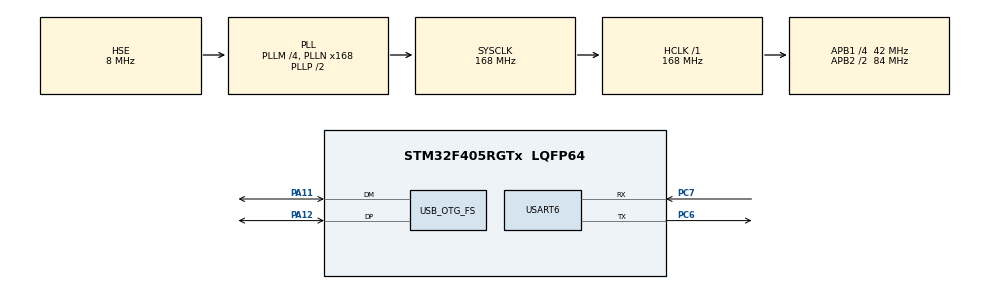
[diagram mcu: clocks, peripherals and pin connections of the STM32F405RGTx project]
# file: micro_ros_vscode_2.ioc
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Dma.Request0=USART6_RX
Dma.Request1=USART6_TX
Dma.USART6_RX.0.Direction=DMA_PERIPH_TO_MEMORY
Dma.USART6_RX.0.FIFOMode=DMA_FIFOMODE_DISABLE
Dma.USART6_RX.0.Instance=DMA2_Stream1
Dma.USART6_RX.0.MemDataAlignment=DMA_MDATAALIGN_BYTE
Dma.USART6_RX.0.MemInc=DMA_MINC_ENABLE
Dma.USART6_RX.0.Mode=DMA_NORMAL
Dma.USART6_RX.0.PeriphDataAlignment=DMA_PDATAALIGN_BYTE
Dma.USART6_RX.0.PeriphInc=DMA_PINC_DISABLE
Dma.USART6_RX.0.Priority=DMA_PRIORITY_LOW
Dma.USART6_TX.1.Direction=DMA_MEMORY_TO_PERIPH
Dma.USART6_TX.1.FIFOMode=DMA_FIFOMODE_DISABLE
Dma.USART6_TX.1.Instance=DMA2_Stream6
Dma.USART6_TX.1.MemDataAlignment=DMA_MDATAALIGN_BYTE
Dma.USART6_TX.1.MemInc=DMA_MINC_ENABLE
Dma.USART6_TX.1.Mode=DMA_NORMAL
Dma.USART6_TX.1.PeriphDataAlignment=DMA_PDATAALIGN_BYTE
Dma.USART6_TX.1.PeriphInc=DMA_PINC_DISABLE
Dma.USART6_TX.1.Priority=DMA_PRIORITY_LOW
FREERTOS.Tasks01=defaultTask,24,3000,StartDefaultTask,Default,NULL,Dynamic,NULL,NULL
Mcu.Family=STM32F4
Mcu.Name=STM32F405RGTx
Mcu.Package=LQFP64
NVIC.DMA2_Stream1_IRQn=true\:5\:0\:false\:false\:true\:true\:false\:true\:true
NVIC.DMA2_Stream6_IRQn=true\:5\:0\:false\:false\:true\:true\:false\:true\:true
NVIC.PriorityGroup=NVIC_PRIORITYGROUP_4
NVIC.USART6_IRQn=true\:5\:0\:false\:false\:true\:true\:false\:true\:true
PA11.Mode=Device_Only
PA11.Signal=USB_OTG_FS_DM
PA12.Mode=Device_Only
PA12.Signal=USB_OTG_FS_DP
PA13.Mode=Serial_Wire
PA13.Signal=SYS_JTMS-SWDIO
PA14.Mode=Serial_Wire
PA14.Signal=SYS_JTCK-SWCLK
PC6.Mode=Asynchronous
PC6.Signal=USART6_TX
PC7.Mode=Asynchronous
PC7.Signal=USART6_RX
PH0-OSC_IN.Mode=HSE-External-Clock-Source
PH0-OSC_IN.Signal=RCC_OSC_IN
PH1-OSC_OUT.Mode=HSE-External-Clock-Source
PH1-OSC_OUT.Signal=RCC_OSC_OUT
ProjectManager.HeapSize=0x200
ProjectManager.StackSize=0x400
ProjectManager.TargetToolchain=Makefile
RCC.48MHZClocksFreq_Value=48000000
RCC.AHBFreq_Value=168000000
RCC.APB1CLKDivider=RCC_HCLK_DIV4
RCC.APB1Freq_Value=42000000
RCC.APB1TimFreq_Value=84000000
RCC.APB2CLKDivider=RCC_HCLK_DIV2
RCC.APB2Freq_Value=84000000
RCC.APB2TimFreq_Value=168000000
RCC.CortexFreq_Value=168000000
RCC.HCLKFreq_Value=168000000
RCC.HSE_VALUE=8000000
RCC.HSI_VALUE=16000000
RCC.LSE_VALUE=32768
RCC.PLLM=4
RCC.PLLN=168
RCC.PLLQ=7
RCC.SYSCLKFreq_VALUE=168000000
RCC.SYSCLKSource=RCC_SYSCLKSOURCE_PLLCLK
RCC.VCOOutputFreq_Value=336000000
USART6.VirtualMode=VM_ASYNC
USB_OTG_FS.VirtualMode=Device_Only
VP_FREERTOS_VS_CMSIS_V2.Mode=CMSIS_V2
board=custom

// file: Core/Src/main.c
/* USER CODE BEGIN Header */
/**
  ******************************************************************************
  * @file           : main.c
  * @brief          : Main program body
  ******************************************************************************
  * @attention
  *
  * Copyright (c) 2026 STMicroelectronics.
  * All rights reserved.
  *
  * This software is licensed under terms that can be found in the LICENSE file
  * in the root directory of this software component.
  * If no LICENSE file comes with this software, it is provided AS-IS.
  *
  ******************************************************************************
  */
/* USER CODE END Header */
#include "main.h"
#include "cmsis_os.h"

/* USER CODE BEGIN Includes */
#include <rcl/rcl.h>
#include <rcl/error_handling.h>
#include <rclc/rclc.h>
#include <rclc/executor.h>
#include <uxr/client/transport.h>
#include <rmw_microxrcedds_c/config.h>
#include <rmw_microros/rmw_microros.h>

#include <std_msgs/msg/int32.h>
/* USER CODE END Includes */

/* USER CODE BEGIN PTD */
/* USER CODE BEGIN 0 */
void __sync_synchronize(void) {
    asm volatile("dmb sy" : : : "memory");
}
/* USER CODE END 0 */
/* USER CODE END PTD */

UART_HandleTypeDef huart6;
DMA_HandleTypeDef hdma_usart6_rx;
DMA_HandleTypeDef hdma_usart6_tx;

/* Definitions for defaultTask */
osThreadId_t defaultTaskHandle;
const osThreadAttr_t defaultTask_attributes = {
  .name = "defaultTask",
  .stack_size = 3000 * 4,
  .priority = (osPriority_t) osPriorityNormal,
};

void SystemClock_Config(void);
static void MX_GPIO_Init(void);
static void MX_DMA_Init(void);
static void MX_USART6_UART_Init(void);
void StartDefaultTask(void *argument);

int main(void)
{

  /* MCU Configuration--------------------------------------------------------*/

  /* Reset of all peripherals, Initializes the Flash interface and the Systick. */
  HAL_Init();

  /* Configure the system clock */
  SystemClock_Config();

  /* Initialize all configured peripherals */
  MX_GPIO_Init();
  MX_DMA_Init();
  MX_USART6_UART_Init();

  /* Init scheduler */
  osKernelInitialize();

  /* Create the thread(s) */
  /* creation of defaultTask */
  defaultTaskHandle = osThreadNew(StartDefaultTask, NULL, &defaultTask_attributes);

  /* Start scheduler */
  osKernelStart();

  /* We should never get here as control is now taken by the scheduler */

  /* Infinite loop */
  while (1)
  {

  }
}

void SystemClock_Config(void)
{
  RCC_OscInitTypeDef RCC_OscInitStruct = {0};
  RCC_ClkInitTypeDef RCC_ClkInitStruct = {0};

  /** Configure the main internal regulator output voltage
  */
  __HAL_RCC_PWR_CLK_ENABLE();
  __HAL_PWR_VOLTAGESCALING_CONFIG(PWR_REGULATOR_VOLTAGE_SCALE1);

  /** Initializes the RCC Oscillators according to the specified parameters
  * in the RCC_OscInitTypeDef structure.
  */
  RCC_OscInitStruct.OscillatorType = RCC_OSCILLATORTYPE_HSE;
  RCC_OscInitStruct.HSEState = RCC_HSE_ON;
  RCC_OscInitStruct.PLL.PLLState = RCC_PLL_ON;
  RCC_OscInitStruct.PLL.PLLSource = RCC_PLLSOURCE_HSE;
  RCC_OscInitStruct.PLL.PLLM = 4;
  RCC_OscInitStruct.PLL.PLLN = 168;
  RCC_OscInitStruct.PLL.PLLP = RCC_PLLP_DIV2;
  RCC_OscInitStruct.PLL.PLLQ = 4;
  if (HAL_RCC_OscConfig(&RCC_OscInitStruct) != HAL_OK)
  {
    Error_Handler();
  }

  /** Initializes the CPU, AHB and APB buses clocks
  */
  RCC_ClkInitStruct.ClockType = RCC_CLOCKTYPE_HCLK|RCC_CLOCKTYPE_SYSCLK
                              |RCC_CLOCKTYPE_PCLK1|RCC_CLOCKTYPE_PCLK2;
  RCC_ClkInitStruct.SYSCLKSource = RCC_SYSCLKSOURCE_PLLCLK;
  RCC_ClkInitStruct.AHBCLKDivider = RCC_SYSCLK_DIV1;
  RCC_ClkInitStruct.APB1CLKDivider = RCC_HCLK_DIV4;
  RCC_ClkInitStruct.APB2CLKDivider = RCC_HCLK_DIV2;

  if (HAL_RCC_ClockConfig(&RCC_ClkInitStruct, FLASH_LATENCY_5) != HAL_OK)
  {
    Error_Handler();
  }
}

static void MX_USART6_UART_Init(void)
{

  huart6.Instance = USART6;
  huart6.Init.BaudRate = 115200;
  huart6.Init.WordLength = UART_WORDLENGTH_8B;
  huart6.Init.StopBits = UART_STOPBITS_1;
  huart6.Init.Parity = UART_PARITY_NONE;
  huart6.Init.Mode = UART_MODE_TX_RX;
  huart6.Init.HwFlowCtl = UART_HWCONTROL_NONE;
  huart6.Init.OverSampling = UART_OVERSAMPLING_16;
  if (HAL_UART_Init(&huart6) != HAL_OK)
  {
    Error_Handler();
  }

}

static void MX_DMA_Init(void)
{

  /* DMA controller clock enable */
  __HAL_RCC_DMA2_CLK_ENABLE();

  /* DMA interrupt init */
  /* DMA2_Stream1_IRQn interrupt configuration */
  HAL_NVIC_SetPriority(DMA2_Stream1_IRQn, 5, 0);
  HAL_NVIC_EnableIRQ(DMA2_Stream1_IRQn);
  /* DMA2_Stream6_IRQn interrupt configuration */
  HAL_NVIC_SetPriority(DMA2_Stream6_IRQn, 5, 0);
  HAL_NVIC_EnableIRQ(DMA2_Stream6_IRQn);

}

static void MX_GPIO_Init(void)
{

  /* GPIO Ports Clock Enable */
  __HAL_RCC_GPIOH_CLK_ENABLE();
  __HAL_RCC_GPIOC_CLK_ENABLE();
  __HAL_RCC_GPIOA_CLK_ENABLE();

}

/* USER CODE BEGIN 4 */
bool cubemx_transport_open(struct uxrCustomTransport * transport);
bool cubemx_transport_close(struct uxrCustomTransport * transport);
size_t cubemx_transport_write(struct uxrCustomTransport* transport, const uint8_t * buf, size_t len, uint8_t * err);
size_t cubemx_transport_read(struct uxrCustomTransport* transport, uint8_t* buf, size_t len, int timeout, uint8_t* err);

void * microros_allocate(size_t size, void * state);
void microros_deallocate(void * pointer, void * state);
void * microros_reallocate(void * pointer, size_t size, void * state);
void * microros_zero_allocate(size_t number_of_elements, size_t size_of_element, void * state);
/* USER CODE END 4 */

#include <std_msgs/msg/int32.h> // Sử dụng tin nhắn Int32 đơn giản

void StartDefaultTask(void *argument)
{
  /* USER CODE BEGIN 5 */

  // --- Cấu hình Transport (Giữ nguyên như cũ) ---
  rmw_uros_set_custom_transport(
    true,
    (void *) &huart6,
    cubemx_transport_open,
    cubemx_transport_close,
    cubemx_transport_write,
    cubemx_transport_read);

  rcl_allocator_t freeRTOS_allocator = rcutils_get_zero_initialized_allocator();
  freeRTOS_allocator.allocate = microros_allocate;
  freeRTOS_allocator.deallocate = microros_deallocate;
  freeRTOS_allocator.reallocate = microros_reallocate;
  freeRTOS_allocator.zero_allocate =  microros_zero_allocate;

  if (!rcutils_set_default_allocator(&freeRTOS_allocator)) {
      printf("Error on default allocators (line %d)\n", __LINE__);
  }

  // --- KHAI BÁO BIẾN ---
  rclc_support_t support;
  rcl_allocator_t allocator;
  rcl_node_t node;

  // Khai báo 2 Publisher riêng biệt
  rcl_publisher_t pub_motor_1;
  rcl_publisher_t pub_motor_2;

  // Khai báo 2 tin nhắn riêng biệt
  std_msgs__msg__Int32 msg_motor_1;
  std_msgs__msg__Int32 msg_motor_2;

  allocator = rcl_get_default_allocator();

  // Init Support & Node
  rclc_support_init(&support, 0, NULL, &allocator);
  rclc_node_init_default(&node, "stm32_node", "", &support);

  // --- KHỞI TẠO PUBLISHER 1 (Khớp 1) ---
  // Tên topic: "motor_left_speed"
  rclc_publisher_init_default(
    &pub_motor_1,
    &node,
    ROSIDL_GET_MSG_TYPE_SUPPORT(std_msgs, msg, Int32),
    "motor_left_speed");

  // --- KHỞI TẠO PUBLISHER 2 (Khớp 2) ---
  // Tên topic: "motor_right_speed"
  rclc_publisher_init_default(
    &pub_motor_2,
    &node,
    ROSIDL_GET_MSG_TYPE_SUPPORT(std_msgs, msg, Int32),
    "motor_right_speed");

  // Giá trị ban đầu
  msg_motor_1.data = 0;
  msg_motor_2.data = 500;

  for(;;)
  {
    // --- GỬI DỮ LIỆU KHỚP 1 ---
    rcl_ret_t ret1 = rcl_publish(&pub_motor_1, &msg_motor_1, NULL);

    // --- GỬI DỮ LIỆU KHỚP 2 ---
    rcl_ret_t ret2 = rcl_publish(&pub_motor_2, &msg_motor_2, NULL);

    // Cập nhật giá trị để test
    msg_motor_1.data += 1;
    msg_motor_2.data -= 1;

    osDelay(100); // 10Hz
  }
  /* USER CODE END 5 */
}

void HAL_TIM_PeriodElapsedCallback(TIM_HandleTypeDef *htim)
{
  if (htim->Instance == TIM11)
  {
    HAL_IncTick();
  }
}

void Error_Handler(void)
{
  __disable_irq();
  while (1)
  {
  }
}
